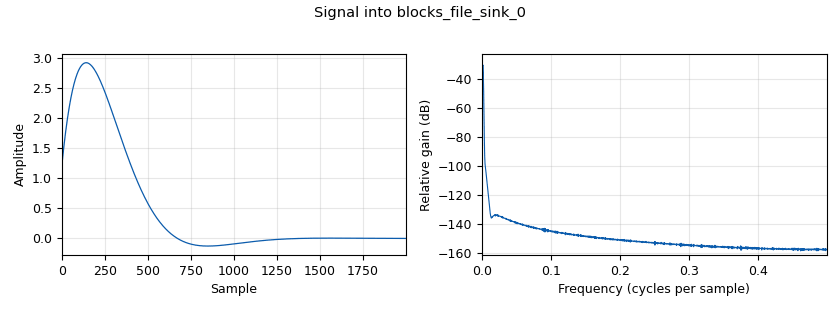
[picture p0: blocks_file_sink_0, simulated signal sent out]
options:
  parameters:
    generate_options: qt_gui
    id: exp4
    output_language: python
    title: PLL Intuition and Carrier Tracking
  states: {}

blocks:
- name: carrier_freq
  id: variable
  parameters:
    value: '1000'
  states: {}
- name: loop_bw
  id: variable
  parameters:
    value: math.pi/1000
  states: {}
- name: phase_offset
  id: variable
  parameters:
    value: '60'
  states: {}
- name: samp_rate
  id: variable
  parameters:
    value: '32000'
  states: {}
- name: analog_pll_refout_cc_0
  id: analog_pll_refout_cc
  parameters:
    max_freq: 2*math.pi*1200/samp_rate
    min_freq: 2*math.pi*800/samp_rate
    w: loop_bw
  states: {}
- name: analog_sig_source_x_0
  id: analog_sig_source_x
  parameters:
    amp: '1'
    freq: '1000'
    offset: '0'
    phase: math.radians(phase_offset)
    samp_rate: samp_rate
    type: complex
    waveform: analog.GR_COS_WAVE
  states: {}
- name: blocks_complex_to_arg_0
  id: blocks_complex_to_arg
  parameters: {}
  states: {}
- name: blocks_file_sink_0
  id: blocks_file_sink
  parameters:
    file: ch21_exp4_pll_phase_error.dat
    type: float
  states: {}
- name: blocks_head_0
  id: blocks_head
  parameters:
    num_items: '2000'
    type: float
  states: {}
- name: blocks_multiply_conjugate_cc_0
  id: blocks_multiply_conjugate_cc
  parameters: {}
  states: {}
- name: import_0
  id: import
  parameters:
    imports: import math
  states: {}

connections:
- [analog_pll_refout_cc_0, '0', blocks_multiply_conjugate_cc_0, '1']
- [analog_sig_source_x_0, '0', analog_pll_refout_cc_0, '0']
- [analog_sig_source_x_0, '0', blocks_multiply_conjugate_cc_0, '0']
- [blocks_complex_to_arg_0, '0', blocks_head_0, '0']
- [blocks_head_0, '0', blocks_file_sink_0, '0']
- [blocks_multiply_conjugate_cc_0, '0', blocks_complex_to_arg_0, '0']

metadata:
  file_format: 1
  grc_version: 3.10.12.0
